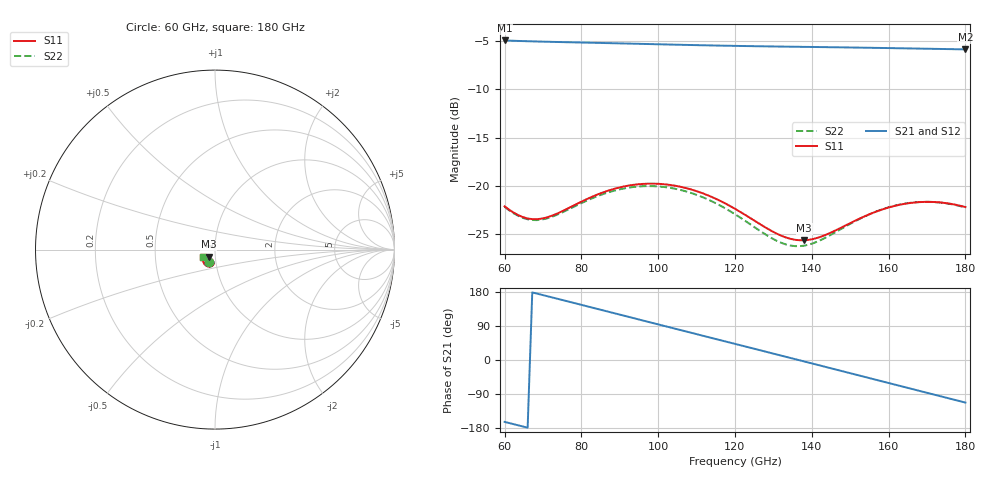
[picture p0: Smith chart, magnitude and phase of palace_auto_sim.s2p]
#  GHZ S DB R 50
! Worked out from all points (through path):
!   101 points, 60 GHz to 180 GHz, reference 50 ohm
!   highest |S21| = -4.90 dB at 60 GHz (marker M1); lowest = -5.8 dB at 180 GHz (marker M2)
!   group delay of S21, straight-line fit = 7.16 ps
!   lowest |S11| = -25.7 dB at 138 GHz (marker M3), VSWR 1.11, Z = 46.5 - j3.62 ohm
!   |S11| at or under -10 dB: start of sweep to end of sweep
!   |S22| runs from -26.3 to -20.1 dB; largest |S21 - S12| = 6.4e-14
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60  -22.15 -116.2  -4.90 -163.3  -4.90 -163.3  -22.22 -116.3
64.8  -23.29 -109.6  -4.96 -175.5  -4.96 -175.5  -23.37 -109.7
68.4  -23.50 -103.3  -5.01 175.3  -5.01 175.3  -23.59 -103.5
74.4  -22.78 -96.3  -5.07 159.9  -5.07 159.9  -22.91 -96.5
80.4  -21.60 -96.0  -5.12 144.5  -5.12 144.5  -21.75 -96.3
86.4  -20.60 -100.9  -5.17 129.0  -5.17 129.0  -20.78 -101.1
91.2  -20.08 -106.8  -5.21 116.7  -5.21 116.7  -20.29 -107.1
96  -19.83 -113.6  -5.26 104.3  -5.26 104.3  -20.07 -114.0
100.8  -19.84 -120.9  -5.30 91.9  -5.30 91.9  -20.12 -121.2
105.6  -20.11 -128.0  -5.35 79.5  -5.35 79.5  -20.43 -128.3
110.4  -20.63 -134.6  -5.39 67.2  -5.39 67.2  -21.02 -134.9
120  -22.42 -144.0  -5.46 42.5  -5.46 42.5  -22.98 -143.8
129.6  -24.74 -143.1  -5.52 17.9  -5.52 17.9  -25.48 -141.1
134.4  -25.54 -137.3  -5.55 5.5  -5.55 5.5  -26.24 -133.7
138  -25.69 -131.6  -5.57 -3.8  -5.57 -3.8  -26.25 -127.0
140.4  -25.55 -128.1  -5.58 -10.0  -5.58 -10.0  -25.99 -123.1
150  -23.91 -121.5  -5.63 -34.8  -5.63 -34.8  -23.98 -117.3
156  -22.82 -123.9  -5.67 -50.3  -5.67 -50.3  -22.82 -120.5
160.8  -22.19 -128.1  -5.70 -62.8  -5.70 -62.8  -22.17 -125.2
165.6  -21.81 -133.3  -5.73 -75.2  -5.73 -75.2  -21.80 -130.9
170.4  -21.69 -139.0  -5.76 -87.6  -5.76 -87.6  -21.69 -137.0
180  -22.24 -150.1  -5.83 -112.4  -5.83 -112.4  -22.29 -148.6
